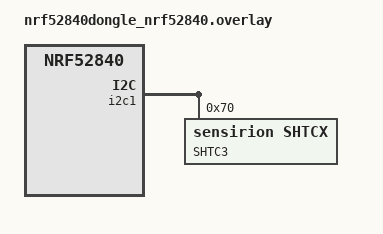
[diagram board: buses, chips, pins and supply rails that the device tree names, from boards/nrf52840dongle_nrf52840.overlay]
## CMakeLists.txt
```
# SPDX-License-Identifier: Apache-2.0

cmake_minimum_required(VERSION 3.20.0)

find_package(Zephyr REQUIRED HINTS $ENV{ZEPHYR_BASE})
project(shtc3)

FILE(GLOB app_sources src/*.c)
target_sources(app PRIVATE ${app_sources})
```

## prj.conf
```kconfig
CONFIG_I2C=y
CONFIG_SENSOR=y

CONFIG_STDOUT_CONSOLE=y
CONFIG_CBPRINTF_LIBC_SUBSTS=y
CONFIG_CBPRINTF_FP_SUPPORT=y
```

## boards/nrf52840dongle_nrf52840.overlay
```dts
// For more help, browse the DeviceTree documentation at 
//  https://docs.zephyrproject.org/latest/guides/dts/index.html

// You can also visit the nRF DeviceTree extension documentation at 
//  https://nrfconnect.github.io/vscode-nrf-connect/devicetree/nrfdevicetree.html

&i2c1 {
	status = "okay";
	shtcx@70 {
		compatible = "sensirion,shtcx";
		label = "SHTC3";
		reg = <0x70>;
		chip = "shtc3";
		measure-mode = "normal";
	};
};
```

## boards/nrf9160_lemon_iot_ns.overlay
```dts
// For more help, browse the DeviceTree documentation at 
//  https://docs.zephyrproject.org/latest/guides/dts/index.html

// You can also visit the nRF DeviceTree extension documentation at 
//  https://nrfconnect.github.io/vscode-nrf-connect/devicetree/nrfdevicetree.html

&pinctrl {

	i2c2_default: i2c2_default {
		group1 {
			psels = <NRF_PSEL(TWIM_SDA, 0, 30)>,
				<NRF_PSEL(TWIM_SCL, 0, 31)>;
				bias-pull-up;
		};
	};

	i2c2_sleep: i2c2_sleep {
		group1 {
			psels = <NRF_PSEL(TWIM_SDA, 0, 30)>,
				<NRF_PSEL(TWIM_SCL, 0, 31)>;
			low-power-enable;
		};
	};
};

&i2c2 {
	compatible = "nordic,nrf-twim";
	status = "okay";
	pinctrl-0 = <&i2c2_default>;
	pinctrl-1 = <&i2c2_sleep>;
	pinctrl-names = "default", "sleep";
	clock-frequency = <100000>;
	shtcx@70 {
		compatible = "sensirion,shtcx";
		label = "SHTC3";
		reg = <0x70>;
		chip = "shtc3";
		measure-mode = "normal";
	};
};
```

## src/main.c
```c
/*
 * nRF9160 Sensirion SHTCx Example
 *
 * This example uses Zephyr Sensor Framework and DeviceTree overlays (at a 
 * project level) to obtain the temperature and humidity from a SHTC3 sensor.
 * 
 * API Reference:
 * https://docs.zephyrproject.org/latest/hardware/peripherals/sensor.html
 * https://docs.zephyrproject.org/3.0.0/reference/devicetree/bindings/sensor/sensirion%2Cshtcx.html
 * 
 */

#include <zephyr/kernel.h>
#include <zephyr/device.h>
#include <zephyr/devicetree.h>
#include <zephyr/drivers/sensor.h>
#include <stdio.h>

void main(void)
{
 	// Get a device structure from a devicetree node with compatible
 	// "sensirion,shtcx". 
	const struct device *dev = DEVICE_DT_GET_ANY(sensirion_shtcx);

	if (dev == NULL) {
		printk("\nError: No devicetree node found for Sensirion SHTCx.\n");
		return;
	}

	if (!device_is_ready(dev)) {
		printf("Device %s is not ready\n", dev->name);
		return;
	}

	printk("Found device %s. Reading sensor data\n", dev->name);

	while (true) {
		struct sensor_value temp, hum;

		sensor_sample_fetch(dev);
		sensor_channel_get(dev, SENSOR_CHAN_AMBIENT_TEMP, &temp);
		sensor_channel_get(dev, SENSOR_CHAN_HUMIDITY, &hum);
		printk("%.2f degC, %0.2f%% RH\n", sensor_value_to_double(&temp), sensor_value_to_double(&hum));

		k_sleep(K_MSEC(1000));
	}
}
```
